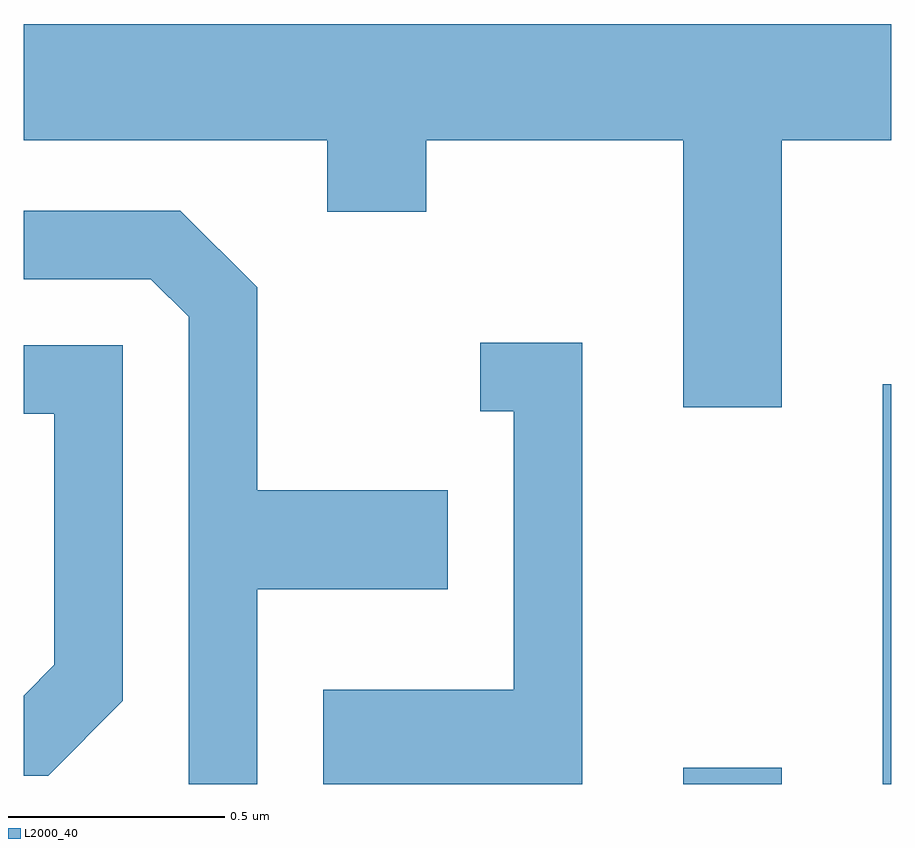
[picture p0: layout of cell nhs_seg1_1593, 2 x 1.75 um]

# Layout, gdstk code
import gdstk
lib = gdstk.Library(unit=1e-6, precision=1e-09)
def R(c, l, rs):  # rectangles x0, y0, x1, y1
    for r in rs: c.add(gdstk.rectangle(r[:2], r[2:], *l))
def P(c, l, *ps):  # polygons
    for p in ps: c.add(gdstk.Polygon(p, *l))
L2000_40 = (2000, 40)

nhs_seg1_1593 = lib.new_cell('nhs_seg1_1593')
R(nhs_seg1_1593, L2000_40, [(198.131,944.712,198.359,944.749), (198.591,944.712,198.611,945.634)])
P(nhs_seg1_1593, L2000_40, [(198.359,946.196),(198.611,946.196),(198.611,946.464),(196.611,946.464),(196.611,946.196),(197.311,946.196),(197.311,946.031),(197.539,946.031),(197.539,946.196),(198.131,946.196),(198.131,945.581),(198.359,945.581)],
  [(197.149,945.161),(197.589,945.161),(197.589,945.389),(197.149,945.389),(197.149,945.857),(196.972,946.034),(196.611,946.034),(196.611,945.876),(196.904,945.876),(196.991,945.789),(196.991,944.712),(197.149,944.712)],
  [(197.899,945.729),(197.663,945.729),(197.663,945.571),(197.741,945.571),(197.741,944.929),(197.301,944.929),(197.301,944.712),(197.899,944.712)],
  [(196.839,944.904),(196.839,945.724),(196.611,945.724),(196.611,945.566),(196.681,945.566),(196.681,944.987),(196.611,944.916),(196.611,944.731),(196.667,944.731)])

lib.write_gds('nhs_seg1_1593.gds')
